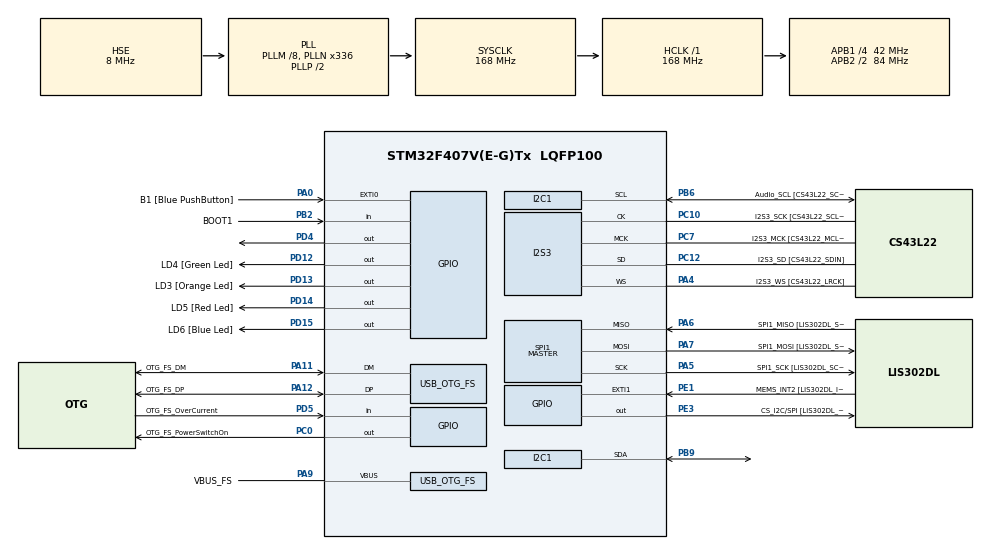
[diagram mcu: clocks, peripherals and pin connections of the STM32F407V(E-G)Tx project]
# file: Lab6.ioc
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Dma.Request0=SPI3_TX
Dma.SPI3_TX.0.Direction=DMA_MEMORY_TO_PERIPH
Dma.SPI3_TX.0.FIFOMode=DMA_FIFOMODE_ENABLE
Dma.SPI3_TX.0.FIFOThreshold=DMA_FIFO_THRESHOLD_FULL
Dma.SPI3_TX.0.Instance=DMA1_Stream5
Dma.SPI3_TX.0.MemBurst=DMA_MBURST_SINGLE
Dma.SPI3_TX.0.MemDataAlignment=DMA_MDATAALIGN_HALFWORD
Dma.SPI3_TX.0.MemInc=DMA_MINC_ENABLE
Dma.SPI3_TX.0.Mode=DMA_CIRCULAR
Dma.SPI3_TX.0.PeriphBurst=DMA_PBURST_SINGLE
Dma.SPI3_TX.0.PeriphDataAlignment=DMA_PDATAALIGN_HALFWORD
Dma.SPI3_TX.0.PeriphInc=DMA_PINC_DISABLE
Dma.SPI3_TX.0.Priority=DMA_PRIORITY_LOW
I2S3.AudioFreq=I2S_AUDIOFREQ_48K
I2S3.AudioFreq-Half_Duplex_Master=I2S_AUDIOFREQ_96K
I2S3.ErrorAudioFreq=-2.34 %
I2S3.ErrorAudioFreq-Half_Duplex_Master=0.8 %
I2S3.FullDuplexMode=I2S_FULLDUPLEXMODE_DISABLE
I2S3.Instance=SPI$Index
I2S3.RealAudioFreq=46.875 KHz
I2S3.RealAudioFreq-Half_Duplex_Master=96.774 KHz
I2S3.VirtualMode=I2S_MODE_MASTER
Mcu.Family=STM32F4
Mcu.Name=STM32F407V(E-G)Tx
Mcu.Package=LQFP100
NVIC.DMA1_Stream5_IRQn=true\:0\:0\:false\:false\:true\:false\:true\:true
NVIC.OTG_FS_IRQn=true\:0\:0\:false\:false\:true\:true\:true\:true
NVIC.PriorityGroup=NVIC_PRIORITYGROUP_0
PA0-WKUP.GPIO_Label=B1 [Blue PushButton]
PA0-WKUP.GPIO_ModeDefaultEXTI=GPIO_MODE_EVT_RISING
PA0-WKUP.GPIO_PuPd=GPIO_NOPULL
PA0-WKUP.Signal=GPXTI0
PA10.GPIO_Label=OTG_FS_ID
PA10.GPIO_Mode=GPIO_MODE_AF_PP
PA10.GPIO_PuPd=GPIO_NOPULL
PA10.GPIO_Speed=GPIO_SPEED_FREQ_LOW
PA10.Signal=USB_OTG_FS_ID
PA11.GPIO_Label=OTG_FS_DM
PA11.GPIO_Mode=GPIO_MODE_AF_PP
PA11.GPIO_PuPd=GPIO_NOPULL
PA11.GPIO_Speed=GPIO_SPEED_FREQ_LOW
PA11.Mode=Host_Only
PA11.Signal=USB_OTG_FS_DM
PA12.GPIO_Label=OTG_FS_DP
PA12.GPIO_Mode=GPIO_MODE_AF_PP
PA12.GPIO_PuPd=GPIO_NOPULL
PA12.GPIO_Speed=GPIO_SPEED_FREQ_LOW
PA12.Mode=Host_Only
PA12.Signal=USB_OTG_FS_DP
PA13.GPIO_Label=SWDIO
PA13.Mode=Serial_Wire
PA13.Signal=SYS_JTMS-SWDIO
PA14.GPIO_Label=SWCLK
PA14.Mode=Serial_Wire
PA14.Signal=SYS_JTCK-SWCLK
PA4.GPIO_Label=I2S3_WS [CS43L22_LRCK]
PA4.GPIO_Mode=GPIO_MODE_AF_PP
PA4.GPIO_PuPd=GPIO_NOPULL
PA4.GPIO_Speed=GPIO_SPEED_FREQ_LOW
PA4.Mode=Half_Duplex_Master
PA4.Signal=I2S3_WS
PA5.GPIO_Label=SPI1_SCK [LIS302DL_SCL/SPC]
PA5.GPIO_Mode=GPIO_MODE_AF_PP
PA5.GPIO_PuPd=GPIO_NOPULL
PA5.GPIO_Speed=GPIO_SPEED_FREQ_LOW
PA5.Mode=Full_Duplex_Master
PA5.Signal=SPI1_SCK
PA6.GPIO_Label=SPI1_MISO [LIS302DL_SDO]
PA6.GPIO_Mode=GPIO_MODE_AF_PP
PA6.GPIO_PuPd=GPIO_NOPULL
PA6.GPIO_Speed=GPIO_SPEED_FREQ_LOW
PA6.Mode=Full_Duplex_Master
PA6.Signal=SPI1_MISO
PA7.GPIO_Label=SPI1_MOSI [LIS302DL_SDA/SDI/SDO]
PA7.GPIO_Mode=GPIO_MODE_AF_PP
PA7.GPIO_PuPd=GPIO_NOPULL
PA7.GPIO_Speed=GPIO_SPEED_FREQ_LOW
PA7.Mode=Full_Duplex_Master
PA7.Signal=SPI1_MOSI
PA9.GPIO_Label=VBUS_FS
PA9.GPIO_Mode=GPIO_MODE_INPUT
PA9.GPIO_PuPd=GPIO_NOPULL
PA9.Mode=Activate_VBUS
PA9.Signal=USB_OTG_FS_VBUS
PB10.GPIO_Label=CLK_IN [MP45DT02_CLK]
PB10.GPIO_Mode=GPIO_MODE_AF_PP
PB10.GPIO_PuPd=GPIO_NOPULL
PB10.GPIO_Speed=GPIO_SPEED_FREQ_LOW
PB10.Signal=I2S2_CK
PB2.GPIO_Label=BOOT1
PB2.GPIO_Mode=GPIO_MODE_INPUT
PB2.GPIO_PuPd=GPIO_NOPULL
PB2.Signal=GPIO_Input
PB3.GPIO_Label=SWO
PB3.Signal=SYS_JTDO-SWO
PB6.GPIO_Label=Audio_SCL [CS43L22_SCL]
PB6.GPIO_Mode=GPIO_MODE_AF_OD
PB6.GPIO_Pu=GPIO_PULLUP
PB6.GPIO_PuPd=GPIO_NOPULL
PB6.GPIO_Speed=GPIO_SPEED_FREQ_LOW
PB6.Mode=I2C
PB6.Signal=I2C1_SCL
PB9.Mode=I2C
PB9.Signal=I2C1_SDA
PC0.GPIO_Label=OTG_FS_PowerSwitchOn
PC0.GPIO_PuPd=GPIO_NOPULL
PC0.GPIO_Speed=GPIO_SPEED_FREQ_LOW
PC0.PinState=GPIO_PIN_SET
PC0.Signal=GPIO_Output
PC10.GPIO_Label=I2S3_SCK [CS43L22_SCLK]
PC10.GPIO_Mode=GPIO_MODE_AF_PP
PC10.GPIO_PuPd=GPIO_NOPULL
PC10.GPIO_Speed=GPIO_SPEED_FREQ_LOW
PC10.Mode=Half_Duplex_Master
PC10.Signal=I2S3_CK
PC12.GPIO_Label=I2S3_SD [CS43L22_SDIN]
PC12.GPIO_Mode=GPIO_MODE_AF_PP
PC12.GPIO_PuPd=GPIO_NOPULL
PC12.GPIO_Speed=GPIO_SPEED_FREQ_LOW
PC12.Mode=Half_Duplex_Master
PC12.Signal=I2S3_SD
PC14-OSC32_IN.GPIO_Label=PC14-OSC32_IN
PC14-OSC32_IN.Mode=LSE-External-Oscillator
PC14-OSC32_IN.Signal=RCC_OSC32_IN
PC15-OSC32_OUT.GPIO_Label=PC15-OSC32_OUT
PC15-OSC32_OUT.Mode=LSE-External-Oscillator
PC15-OSC32_OUT.Signal=RCC_OSC32_OUT
PC3.GPIO_Label=PDM_OUT [MP45DT02_DOUT]
PC3.GPIO_Mode=GPIO_MODE_AF_PP
PC3.GPIO_PuPd=GPIO_NOPULL
PC3.GPIO_Speed=GPIO_SPEED_FREQ_LOW
PC3.Signal=I2S2_SD
PC7.GPIO_Label=I2S3_MCK [CS43L22_MCLK]
PC7.GPIO_Mode=GPIO_MODE_AF_PP
PC7.GPIO_PuPd=GPIO_NOPULL
PC7.GPIO_Speed=GPIO_SPEED_FREQ_LOW
PC7.Mode=Master_Clock_Activated
PC7.Signal=I2S3_MCK
PD12.GPIO_Label=LD4 [Green Led]
PD12.GPIO_PuPd=GPIO_NOPULL
PD12.GPIO_Speed=GPIO_SPEED_FREQ_LOW
PD12.Signal=GPIO_Output
PD13.GPIO_Label=LD3 [Orange Led]
PD13.GPIO_PuPd=GPIO_NOPULL
PD13.GPIO_Speed=GPIO_SPEED_FREQ_LOW
PD13.Signal=GPIO_Output
PD14.GPIO_Label=LD5 [Red Led]
PD14.GPIO_PuPd=GPIO_NOPULL
PD14.GPIO_Speed=GPIO_SPEED_FREQ_LOW
PD14.Signal=GPIO_Output
PD15.GPIO_Label=LD6 [Blue Led]
PD15.GPIO_PuPd=GPIO_NOPULL
PD15.GPIO_Speed=GPIO_SPEED_FREQ_LOW
PD15.Signal=GPIO_Output
PD4.Signal=GPIO_Output
PD5.GPIO_Label=OTG_FS_OverCurrent
PD5.GPIO_Mode=GPIO_MODE_INPUT
PD5.GPIO_PuPd=GPIO_NOPULL
PD5.Signal=GPIO_Input
PE1.GPIO_Label=MEMS_INT2 [LIS302DL_INT2]
PE1.GPIO_ModeDefaultEXTI=GPIO_MODE_EVT_RISING
PE1.GPIO_PuPd=GPIO_NOPULL
PE1.Signal=GPXTI1
PE3.GPIO_Label=CS_I2C/SPI [LIS302DL_CS_I2C/SPI]
PE3.GPIO_PuPd=GPIO_NOPULL
PE3.GPIO_Speed=GPIO_SPEED_FREQ_LOW
PE3.Signal=GPIO_Output
PH0-OSC_IN.GPIO_Label=PH0-OSC_IN
PH0-OSC_IN.Mode=HSE-External-Oscillator
PH0-OSC_IN.Signal=RCC_OSC_IN
PH1-OSC_OUT.GPIO_Label=PH1-OSC_OUT
PH1-OSC_OUT.Mode=HSE-External-Oscillator
PH1-OSC_OUT.Signal=RCC_OSC_OUT
ProjectManager.HeapSize=0x200
ProjectManager.StackSize=0x400
ProjectManager.TargetToolchain=STM32CubeIDE
RCC.48MHZClocksFreq_Value=48000000
RCC.AHBFreq_Value=168000000
RCC.APB1CLKDivider=RCC_HCLK_DIV4
RCC.APB1Freq_Value=42000000
RCC.APB1TimFreq_Value=84000000
RCC.APB2CLKDivider=RCC_HCLK_DIV2
RCC.APB2Freq_Value=84000000
RCC.APB2TimFreq_Value=168000000
RCC.CortexFreq_Value=168000000
RCC.HCLKFreq_Value=168000000
RCC.HSE_VALUE=8000000
RCC.HSI_VALUE=16000000
RCC.PLLM=8
RCC.PLLN=336
RCC.PLLQ=7
RCC.SYSCLKFreq_VALUE=168000000
RCC.SYSCLKSource=RCC_SYSCLKSOURCE_PLLCLK
RCC.VCOOutputFreq_Value=336000000
SPI1.BaudRatePrescaler-Full_Duplex_Master=SPI_BAUDRATEPRESCALER_2
SPI1.CalculateBaudRate-Full_Duplex_Master=42.0 MBits/s
SPI1.Direction=SPI_DIRECTION_2LINES
SPI1.Mode=SPI_MODE_MASTER
SPI1.Mode-Full_Duplex_Master=SPI_MODE_MASTER
SPI1.VirtualType=VM_MASTER
USB_HOST.BSP.number=1
USB_HOST.USBH_HandleTypeDef-CDC_FS=hUsbHostFS
USB_HOST.VirtualModeFS=Cdc
USB_HOST0.BSP.STBoard=false
USB_HOST0.BSP.api=Unknown
USB_HOST0.BSP.instance=PC0
USB_HOST0.BSP.ip=GPIO
USB_HOST0.BSP.mode=Output
USB_HOST0.BSP.name=Drive_VBUS_FS
USB_HOST0.BSP.solution=PC0
USB_OTG_FS.VirtualMode=Host_Only
USB_OTG_FS.phy_itface=HCD_PHY_EMBEDDED
VP_USB_HOST_VS_USB_HOST_CDC_FS.Mode=CDC_FS
board=STM32F407G-DISC1

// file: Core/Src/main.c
/* USER CODE BEGIN Header */
/**
  ******************************************************************************
  * @file           : main.c
  * @brief          : Main program body
  ******************************************************************************
  * @attention
  *
  * Copyright (c) 2023 STMicroelectronics.
  * All rights reserved.
  *
  * This software is licensed under terms that can be found in the LICENSE file
  * in the root directory of this software component.
  * If no LICENSE file comes with this software, it is provided AS-IS.
  *
  ******************************************************************************
  */
/* USER CODE END Header */
#include "main.h"
#include "usb_host.h"

/* USER CODE BEGIN PTD */
typedef enum {
    C3, Cs3, D3, Ds3, E3, F3, Fs3, G3, Gs3, A3, As3, B3,
    C4, Cs4, D4, Ds4, E4, F4, Fs4, G4, Gs4, A4, As4, B4,
    C5, Cs5, D5, Ds5, E5, F5, Fs5, G5, Gs5, A5, As5, B5,
    C6, Cs6, D6, Ds6, E6, F6, Fs6, G6, Gs6, A6, As6, B6,
    C7, Cs7, D7, Ds7, E7, F7, Fs7, G7, Gs7, A7, As7, B7
} Notes;
/* USER CODE END PTD */

/* USER CODE BEGIN PD */
#define CS43L22_I2C_ADDRESS 	0x94
#define I2C_TIMEOUT 			10
/* USER CODE END PD */

I2C_HandleTypeDef hi2c1;

I2S_HandleTypeDef hi2s3;
DMA_HandleTypeDef hdma_spi3_tx;

SPI_HandleTypeDef hspi1;

/* USER CODE BEGIN PV */
int16_t dataI2S[100] = {0};

unsigned int isMyMelody = 1;
/* USER CODE END PV */

void SystemClock_Config(void);
static void MX_GPIO_Init(void);
static void MX_DMA_Init(void);
static void MX_I2C1_Init(void);
static void MX_I2S3_Init(void);
static void MX_SPI1_Init(void);
void MX_USB_HOST_Process(void);

/* USER CODE BEGIN 0 */
void CS43L22_Init(void) {

	  HAL_GPIO_WritePin(GPIOD, GPIO_PIN_4, GPIO_PIN_SET);

	  uint8_t TxBuffer[2];

	  TxBuffer[0] = 0x0D;
	  TxBuffer[1] = 0x01;
	  HAL_I2C_Master_Transmit(&hi2c1, CS43L22_I2C_ADDRESS, (uint8_t*) &TxBuffer, 2, I2C_TIMEOUT);

	  TxBuffer[0] = 0x00;
	  TxBuffer[1] = 0x99;
	  HAL_I2C_Master_Transmit(&hi2c1, CS43L22_I2C_ADDRESS, (uint8_t*) &TxBuffer, 2, I2C_TIMEOUT);

	  TxBuffer[0] = 0x47;
	  TxBuffer[1] = 0x80;
	  HAL_I2C_Master_Transmit(&hi2c1, CS43L22_I2C_ADDRESS, (uint8_t*) &TxBuffer, 2, I2C_TIMEOUT);

	  TxBuffer[0] = 0x32;
	  TxBuffer[1] = 0xFF;
	  HAL_I2C_Master_Transmit(&hi2c1, CS43L22_I2C_ADDRESS, (uint8_t*) &TxBuffer, 2, I2C_TIMEOUT);

	  TxBuffer[0] = 0x32;
	  TxBuffer[1] = 0x7F;
	  HAL_I2C_Master_Transmit(&hi2c1, CS43L22_I2C_ADDRESS, (uint8_t*) &TxBuffer, 2, I2C_TIMEOUT);

	  TxBuffer[0] = 0x00;
	  TxBuffer[1] = 0x00;
	  HAL_I2C_Master_Transmit(&hi2c1, CS43L22_I2C_ADDRESS, (uint8_t*) &TxBuffer, 2, I2C_TIMEOUT);

	  TxBuffer[0] = 0x04;
	  TxBuffer[1] = 0xAF;
	  HAL_I2C_Master_Transmit(&hi2c1, CS43L22_I2C_ADDRESS, (uint8_t*) &TxBuffer, 2, I2C_TIMEOUT);

	  //
	  TxBuffer[0] = 0x00;
	  TxBuffer[1] = 0x70;
	  HAL_I2C_Master_Transmit(&hi2c1, CS43L22_I2C_ADDRESS, (uint8_t*) &TxBuffer, 2, I2C_TIMEOUT);

	  TxBuffer[0] = 0x05;
	  TxBuffer[1] = 0x81;
	  HAL_I2C_Master_Transmit(&hi2c1, CS43L22_I2C_ADDRESS, (uint8_t*) &TxBuffer, 2, I2C_TIMEOUT);

	  TxBuffer[0] = 0x06;
	  TxBuffer[1] = 0x07;
	  HAL_I2C_Master_Transmit(&hi2c1, CS43L22_I2C_ADDRESS, (uint8_t*) &TxBuffer, 2, I2C_TIMEOUT);

	  TxBuffer[0] = 0x0A;
	  TxBuffer[1] = 0x00;
	  HAL_I2C_Master_Transmit(&hi2c1, CS43L22_I2C_ADDRESS, (uint8_t*) &TxBuffer, 2, I2C_TIMEOUT);

	  TxBuffer[0] = 0x27;
	  TxBuffer[1] = 0x00;
	  HAL_I2C_Master_Transmit(&hi2c1, CS43L22_I2C_ADDRESS, (uint8_t*) &TxBuffer, 2, I2C_TIMEOUT);

	  TxBuffer[0] = 0x1A;
	  TxBuffer[1] = 0x0A;
	  HAL_I2C_Master_Transmit(&hi2c1, CS43L22_I2C_ADDRESS, (uint8_t*) &TxBuffer, 2, I2C_TIMEOUT);

	  TxBuffer[0] = 0x1B;
	  TxBuffer[1] = 0x0A;
	  HAL_I2C_Master_Transmit(&hi2c1, CS43L22_I2C_ADDRESS, (uint8_t*) &TxBuffer, 2, I2C_TIMEOUT);

	  TxBuffer[0] = 0x1F;
	  TxBuffer[1] = 0x0F;
	  HAL_I2C_Master_Transmit(&hi2c1, CS43L22_I2C_ADDRESS, (uint8_t*) &TxBuffer, 2, I2C_TIMEOUT);

	  TxBuffer[0] = 0x02;
	  TxBuffer[1] = 0x9E;
	  HAL_I2C_Master_Transmit(&hi2c1, CS43L22_I2C_ADDRESS, (uint8_t*) &TxBuffer, 2, I2C_TIMEOUT);

}

void CS43L22_Beep(Notes note, uint32_t duration_ms) {
	uint8_t TxBuffer[2];

	TxBuffer[0] = 0x1D;
	TxBuffer[1] = 0x00;
	HAL_I2C_Master_Transmit(&hi2c1, CS43L22_I2C_ADDRESS, (uint8_t*) &TxBuffer, 2, I2C_TIMEOUT);

	TxBuffer[0] = 0x1C;
	switch(note) {
		case C4:
			TxBuffer[1] = 0x00;
			break;
		case C5:
			TxBuffer[1] = 0x10;
			break;
		case D5:
			TxBuffer[1] = 0x20;
			break;
		case E5:
			TxBuffer[1] = 0x30;
			break;
		case F5:
			TxBuffer[1] = 0x40;
			break;
		case G5:
			TxBuffer[1] = 0x50;
			break;
		case A5:
			TxBuffer[1] = 0x60;
			break;
		case B5:
			TxBuffer[1] = 0x70;
			break;
		case C6:
			TxBuffer[1] = 0x80;
			break;
		case D6:
			TxBuffer[1] = 0x90;
			break;
		case E6:
			TxBuffer[1] = 0xA0;
			break;
		case F6:
			TxBuffer[1] = 0xB0;
			break;
		case G6:
			TxBuffer[1] = 0xC0;
			break;
		case A6:
			TxBuffer[1] = 0xD0;
			break;
		case B6:
			TxBuffer[1] = 0xE0;
			break;
		case C7:
			TxBuffer[1] = 0xF0;
			break;
		default:
			TxBuffer[1] = 0x00;
			break;
	}
	HAL_I2C_Master_Transmit(&hi2c1, CS43L22_I2C_ADDRESS, (uint8_t*) &TxBuffer, 2, I2C_TIMEOUT);

	TxBuffer[0] = 0x1E;
	TxBuffer[1] = 0xC0;
	HAL_I2C_Master_Transmit(&hi2c1, CS43L22_I2C_ADDRESS, (uint8_t*) &TxBuffer, 2, I2C_TIMEOUT);

	HAL_Delay(duration_ms);

	TxBuffer[0] = 0x1E;
	TxBuffer[1] = 0x00;
	HAL_I2C_Master_Transmit(&hi2c1, CS43L22_I2C_ADDRESS, (uint8_t*) &TxBuffer, 2, I2C_TIMEOUT);
}
/* USER CODE END 0 */

int main(void)
{

  /* MCU Configuration--------------------------------------------------------*/

  /* Reset of all peripherals, Initializes the Flash interface and the Systick. */
  HAL_Init();

  /* Configure the system clock */
  SystemClock_Config();

  /* Initialize all configured peripherals */
  MX_GPIO_Init();
  MX_DMA_Init();
  MX_I2C1_Init();
  MX_I2S3_Init();
  MX_SPI1_Init();
  MX_USB_HOST_Init();
  /* USER CODE BEGIN 2 */
  CS43L22_Init();
  HAL_I2S_Transmit_DMA(&hi2s3, (uint16_t *)dataI2S, 100);

    void allNotes(void) {
  	  Notes note;

  	  for (note = C4; note <= C7; note++) {
  		  CS43L22_Beep(note, 200);
  		  HAL_Delay(200);
  	  }
    }
    void newMelody() {
        // You can define a new melody here
        // For example, a simple ascending scale
        Notes scale[] = {C6, D6, E6, F6, G6, A6, B6, C5};

        for (int i = 0; i < sizeof(scale) / sizeof(scale[0]); i++) {
            CS43L22_Beep(scale[i], 200);
            HAL_Delay(200);
        }
    }

    void spearOfJusticeMelody() {
        // Main theme of "Spear of Justice" from Undertale
        Notes melody[] = {D5, E5, F5, G5, A5, G5, F5, E5,
                          D5, D5, E5, E5, F5, G5, A5, G5,
                          F5, E5, D5, E5, F5, E5, D5, C5};

        int durations[] = {400, 200, 200, 200, 200, 200, 200, 200,
                           400, 200, 200, 200, 200, 200, 200, 200,
                           400, 200, 200, 200, 200, 200, 200, 400};

        for (int i = 0; i < sizeof(melody) / sizeof(melody[0]); i++) {
            CS43L22_Beep(melody[i], durations[i]);
            HAL_Delay(20);  // Add a short pause between notes
        }
    }

    void metalCrusherMelody() {
        // "Metal Crusher" from Undertale
        Notes melody[] = {D6, F6, G6, A6, F6, E6, C6, E6, G6, A6, G6, F6,
                          D6, F6, G6, A6, F6, E6, C6, E6, G6, A6, G6, F6,
                          A5, D6, F6, G6, A6, F6, E6, C6, E6, G6, A6, G6, F6,
                          D6, F6, G6, A6, F6, E6, C6, E6, G6, A6, G6, F6};

        int durations[] = {300, 150, 150, 300, 150, 150, 150, 150, 150, 300, 150, 150,
                           300, 150, 150, 300, 150, 150, 150, 150, 150, 300, 150, 150,
                           300, 150, 150, 150, 150, 300, 150, 150, 150, 150, 150, 300, 150, 150,
                           300, 150, 150, 150, 150, 300, 150, 150, 150, 150, 150, 300};

        for (int i = 0; i < sizeof(melody) / sizeof(melody[0]); i++) {
            CS43L22_Beep(melody[i], durations[i]);
            HAL_Delay(20);  // Add a short pause between notes
        }
    }

    void superMarioBrosMainTheme() {
        Notes melody[] = {E5, E5, E5, C5, E5, G5, G4, C5, G4, E4, A4, A4, A4, A4,
                          E5, E5, E5, C5, E5, G5, G4, C5, G4, E4, A4, A4, A4, A4,
                          G5, G5, G5, G4, F5, F5, F5, F4, E5, E5, E5, D5, D5, D5, D4,
                          C5, C5, C5, C4, G4, G4, G4, G4, A4, A4, A4, A4, G4, F4, F4, F4, F4,
                          G4, G4, G4, G4, A4, A4, A4, A4, G4, F4, F4, F4, F4, E4, E4, E4, E4,
                          A4, A4, A4, A4, B4, B4, B4, B4, C5, C5, C5, C5, D5, D5, D5, D5,
                          E5, E5, E5, E5, C5, C5, C5, C5, D5, D5, D5, D5, E5, E5, E5, E5,
                          G5, G5, G5, G5, E5, E5, E5, E5, G5, G5, G5, G5, A5, A5, A5, A5,
                          G5, F5, F5, F5, F5, G5, G5, G5, G5, A5, A5, A5, A5, G5, F5, F5, F5, F5, E5, E5, E5, E5,
                          A5, A5, A5, A5, B5, B5, B5, B5, C6, C6, C6, C6, D6, D6, D6, D6,
                          E6, E6, E6, E6, G5, G5, G5, G5, A5, A5, A5, A5, G5, F5, F5, F5, F5,
                          G5, G5, G5, G5, A5, A5, A5, A5, G5, F5, F5, F5, F5, E5, E5, E5, E5,
                          A5, A5, A5, A5, B5, B5, B5, B5, C6, C6, C6, C6, D6, D6, D6, D6,
                          E6, E6, E6, E6, G5, G5, G5, G5, A5, A5, A5, A5, G5, F5, F5, F5, F5,
                          G5, G5, G5, G5, A5, A5, A5, A5, G5, F5, F5, F5, F5, E5, E5, E5, E5};

        int durations[] = {400, 400, 400, 200, 400, 200, 200, 400, 200, 200, 400, 200, 200, 200,
                           400, 400, 400, 200, 400, 200, 200, 400, 200, 200, 400, 200, 200, 200,
                           400, 400, 400, 200, 400, 200, 200, 400, 200, 200, 200, 200, 200, 200, 200,
                           400, 400, 400, 200, 400, 200, 200, 400, 200, 200, 400, 200, 200, 200, 200,
                           200, 200, 200, 200, 200, 200, 200, 200, 200, 200, 200, 200, 200, 200, 200, 200,
                           200, 200, 200, 200, 200, 200, 200, 200, 200, 200, 200, 200, 200, 200, 200, 200,
                           200, 200, 200, 200, 200, 200, 200, 200, 200, 200, 200, 200, 200, 200, 200, 200,
                           200, 200, 200, 200, 200, 200, 200, 200, 200, 200, 200, 200, 200, 200, 200, 200,
                           200, 200, 200, 200, 200, 200, 200, 200, 200, 200, 200, 200, 200, 200, 200, 200,
                           200, 200, 200, 200, 200, 200, 200, 200, 200, 200, 200, 200, 200, 200, 200, 200,
                           200, 200, 200, 200, 200, 200, 200, 200, 200, 200, 200, 200, 200, 200, 200, 200,
                           200, 200, 200, 200, 200, 200, 200, 200, 200, 200, 200, 200, 200, 200, 200, 200,
                           200, 200, 200, 200, 200, 200, 200, 200, 200, 200, 200, 200, 200, 200, 200, 200,
                           200, 200, 200, 200, 200, 200, 200, 200, 200, 200, 200, 200, 200, 200, 200, 200,
                           200, 200, 200, 200, 200, 200, 200, 200, 200, 200, 200, 200, 200, 200, 200, 200};

        for (int i = 0; i < sizeof(melody) / sizeof(melody[0]); i++) {
            CS43L22_Beep(melody[i], durations[i]);
            HAL_Delay(10);  // Add a short pause between notes
        }
    }

  /* USER CODE END 2 */

  /* Infinite loop */
  while (1)
  {
    MX_USB_HOST_Process();
    if (isMyMelody == 1) {
    	metalCrusherMelody();
    	  } else {
    		  allNotes();
    	  }
  }
}

void SystemClock_Config(void)
{
  RCC_OscInitTypeDef RCC_OscInitStruct = {0};
  RCC_ClkInitTypeDef RCC_ClkInitStruct = {0};

  /** Configure the main internal regulator output voltage
  */
  __HAL_RCC_PWR_CLK_ENABLE();
  __HAL_PWR_VOLTAGESCALING_CONFIG(PWR_REGULATOR_VOLTAGE_SCALE1);

  /** Initializes the RCC Oscillators according to the specified parameters
  * in the RCC_OscInitTypeDef structure.
  */
  RCC_OscInitStruct.OscillatorType = RCC_OSCILLATORTYPE_HSE;
  RCC_OscInitStruct.HSEState = RCC_HSE_ON;
  RCC_OscInitStruct.PLL.PLLState = RCC_PLL_ON;
  RCC_OscInitStruct.PLL.PLLSource = RCC_PLLSOURCE_HSE;
  RCC_OscInitStruct.PLL.PLLM = 8;
  RCC_OscInitStruct.PLL.PLLN = 336;
  RCC_OscInitStruct.PLL.PLLP = RCC_PLLP_DIV2;
  RCC_OscInitStruct.PLL.PLLQ = 7;
  if (HAL_RCC_OscConfig(&RCC_OscInitStruct) != HAL_OK)
  {
    Error_Handler();
  }

  /** Initializes the CPU, AHB and APB buses clocks
  */
  RCC_ClkInitStruct.ClockType = RCC_CLOCKTYPE_HCLK|RCC_CLOCKTYPE_SYSCLK
                              |RCC_CLOCKTYPE_PCLK1|RCC_CLOCKTYPE_PCLK2;
  RCC_ClkInitStruct.SYSCLKSource = RCC_SYSCLKSOURCE_PLLCLK;
  RCC_ClkInitStruct.AHBCLKDivider = RCC_SYSCLK_DIV1;
  RCC_ClkInitStruct.APB1CLKDivider = RCC_HCLK_DIV4;
  RCC_ClkInitStruct.APB2CLKDivider = RCC_HCLK_DIV2;

  if (HAL_RCC_ClockConfig(&RCC_ClkInitStruct, FLASH_LATENCY_5) != HAL_OK)
  {
    Error_Handler();
  }
}

static void MX_I2C1_Init(void)
{

  hi2c1.Instance = I2C1;
  hi2c1.Init.ClockSpeed = 100000;
  hi2c1.Init.DutyCycle = I2C_DUTYCYCLE_2;
  hi2c1.Init.OwnAddress1 = 0;
  hi2c1.Init.AddressingMode = I2C_ADDRESSINGMODE_7BIT;
  hi2c1.Init.DualAddressMode = I2C_DUALADDRESS_DISABLE;
  hi2c1.Init.OwnAddress2 = 0;
  hi2c1.Init.GeneralCallMode = I2C_GENERALCALL_DISABLE;
  hi2c1.Init.NoStretchMode = I2C_NOSTRETCH_DISABLE;
  if (HAL_I2C_Init(&hi2c1) != HAL_OK)
  {
    Error_Handler();
  }

}

static void MX_I2S3_Init(void)
{

  hi2s3.Instance = SPI3;
  hi2s3.Init.Mode = I2S_MODE_MASTER_TX;
  hi2s3.Init.Standard = I2S_STANDARD_PHILIPS;
  hi2s3.Init.DataFormat = I2S_DATAFORMAT_16B;
  hi2s3.Init.MCLKOutput = I2S_MCLKOUTPUT_ENABLE;
  hi2s3.Init.AudioFreq = I2S_AUDIOFREQ_48K;
  hi2s3.Init.CPOL = I2S_CPOL_LOW;
  hi2s3.Init.ClockSource = I2S_CLOCK_PLL;
  hi2s3.Init.FullDuplexMode = I2S_FULLDUPLEXMODE_DISABLE;
  if (HAL_I2S_Init(&hi2s3) != HAL_OK)
  {
    Error_Handler();
  }

}

static void MX_SPI1_Init(void)
{

  /* SPI1 parameter configuration*/
  hspi1.Instance = SPI1;
  hspi1.Init.Mode = SPI_MODE_MASTER;
  hspi1.Init.Direction = SPI_DIRECTION_2LINES;
  hspi1.Init.DataSize = SPI_DATASIZE_8BIT;
  hspi1.Init.CLKPolarity = SPI_POLARITY_LOW;
  hspi1.Init.CLKPhase = SPI_PHASE_1EDGE;
  hspi1.Init.NSS = SPI_NSS_SOFT;
  hspi1.Init.BaudRatePrescaler = SPI_BAUDRATEPRESCALER_2;
  hspi1.Init.FirstBit = SPI_FIRSTBIT_MSB;
  hspi1.Init.TIMode = SPI_TIMODE_DISABLE;
  hspi1.Init.CRCCalculation = SPI_CRCCALCULATION_DISABLE;
  hspi1.Init.CRCPolynomial = 10;
  if (HAL_SPI_Init(&hspi1) != HAL_OK)
  {
    Error_Handler();
  }

}

static void MX_DMA_Init(void)
{

  /* DMA controller clock enable */
  __HAL_RCC_DMA1_CLK_ENABLE();

  /* DMA interrupt init */
  /* DMA1_Stream5_IRQn interrupt configuration */
  HAL_NVIC_SetPriority(DMA1_Stream5_IRQn, 0, 0);
  HAL_NVIC_EnableIRQ(DMA1_Stream5_IRQn);

}

static void MX_GPIO_Init(void)
{
  GPIO_InitTypeDef GPIO_InitStruct = {0};

  /* GPIO Ports Clock Enable */
  __HAL_RCC_GPIOE_CLK_ENABLE();
  __HAL_RCC_GPIOC_CLK_ENABLE();
  __HAL_RCC_GPIOH_CLK_ENABLE();
  __HAL_RCC_GPIOA_CLK_ENABLE();
  __HAL_RCC_GPIOB_CLK_ENABLE();
  __HAL_RCC_GPIOD_CLK_ENABLE();

  /*Configure GPIO pin Output Level */
  HAL_GPIO_WritePin(CS_I2C_SPI_GPIO_Port, CS_I2C_SPI_Pin, GPIO_PIN_RESET);

  /*Configure GPIO pin Output Level */
  HAL_GPIO_WritePin(OTG_FS_PowerSwitchOn_GPIO_Port, OTG_FS_PowerSwitchOn_Pin, GPIO_PIN_SET);

  /*Configure GPIO pin Output Level */
  HAL_GPIO_WritePin(GPIOD, LD4_Pin|LD3_Pin|LD5_Pin|LD6_Pin
                          |GPIO_PIN_4, GPIO_PIN_RESET);

  /*Configure GPIO pin : CS_I2C_SPI_Pin */
  GPIO_InitStruct.Pin = CS_I2C_SPI_Pin;
  GPIO_InitStruct.Mode = GPIO_MODE_OUTPUT_PP;
  GPIO_InitStruct.Pull = GPIO_NOPULL;
  GPIO_InitStruct.Speed = GPIO_SPEED_FREQ_LOW;
  HAL_GPIO_Init(CS_I2C_SPI_GPIO_Port, &GPIO_InitStruct);

  /*Configure GPIO pin : OTG_FS_PowerSwitchOn_Pin */
  GPIO_InitStruct.Pin = OTG_FS_PowerSwitchOn_Pin;
  GPIO_InitStruct.Mode = GPIO_MODE_OUTPUT_PP;
  GPIO_InitStruct.Pull = GPIO_NOPULL;
  GPIO_InitStruct.Speed = GPIO_SPEED_FREQ_LOW;
  HAL_GPIO_Init(OTG_FS_PowerSwitchOn_GPIO_Port, &GPIO_InitStruct);

  /*Configure GPIO pin : PDM_OUT_Pin */
  GPIO_InitStruct.Pin = PDM_OUT_Pin;
  GPIO_InitStruct.Mode = GPIO_MODE_AF_PP;
  GPIO_InitStruct.Pull = GPIO_NOPULL;
  GPIO_InitStruct.Speed = GPIO_SPEED_FREQ_LOW;
  GPIO_InitStruct.Alternate = GPIO_AF5_SPI2;
  HAL_GPIO_Init(PDM_OUT_GPIO_Port, &GPIO_InitStruct);

  /*Configure GPIO pin : B1_Pin */
  GPIO_InitStruct.Pin = B1_Pin;
  GPIO_InitStruct.Mode = GPIO_MODE_EVT_RISING;
  GPIO_InitStruct.Pull = GPIO_NOPULL;
  HAL_GPIO_Init(B1_GPIO_Port, &GPIO_InitStruct);

  /*Configure GPIO pin : BOOT1_Pin */
  GPIO_InitStruct.Pin = BOOT1_Pin;
  GPIO_InitStruct.Mode = GPIO_MODE_INPUT;
  GPIO_InitStruct.Pull = GPIO_NOPULL;
  HAL_GPIO_Init(BOOT1_GPIO_Port, &GPIO_InitStruct);

  /*Configure GPIO pin : CLK_IN_Pin */
  GPIO_InitStruct.Pin = CLK_IN_Pin;
  GPIO_InitStruct.Mode = GPIO_MODE_AF_PP;
  GPIO_InitStruct.Pull = GPIO_NOPULL;
  GPIO_InitStruct.Speed = GPIO_SPEED_FREQ_LOW;
  GPIO_InitStruct.Alternate = GPIO_AF5_SPI2;
  HAL_GPIO_Init(CLK_IN_GPIO_Port, &GPIO_InitStruct);

  /*Configure GPIO pins : LD4_Pin LD3_Pin LD5_Pin LD6_Pin
                           PD4 */
  GPIO_InitStruct.Pin = LD4_Pin|LD3_Pin|LD5_Pin|LD6_Pin
                          |GPIO_PIN_4;
  GPIO_InitStruct.Mode = GPIO_MODE_OUTPUT_PP;
  GPIO_InitStruct.Pull = GPIO_NOPULL;
  GPIO_InitStruct.Speed = GPIO_SPEED_FREQ_LOW;
  HAL_GPIO_Init(GPIOD, &GPIO_InitStruct);

  /*Configure GPIO pin : OTG_FS_OverCurrent_Pin */
  GPIO_InitStruct.Pin = OTG_FS_OverCurrent_Pin;
  GPIO_InitStruct.Mode = GPIO_MODE_INPUT;
  GPIO_InitStruct.Pull = GPIO_NOPULL;
  HAL_GPIO_Init(OTG_FS_OverCurrent_GPIO_Port, &GPIO_InitStruct);

  /*Configure GPIO pin : MEMS_INT2_Pin */
  GPIO_InitStruct.Pin = MEMS_INT2_Pin;
  GPIO_InitStruct.Mode = GPIO_MODE_EVT_RISING;
  GPIO_InitStruct.Pull = GPIO_NOPULL;
  HAL_GPIO_Init(MEMS_INT2_GPIO_Port, &GPIO_InitStruct);

}

void Error_Handler(void)
{
  __disable_irq();
  while (1)
  {
  }
}
